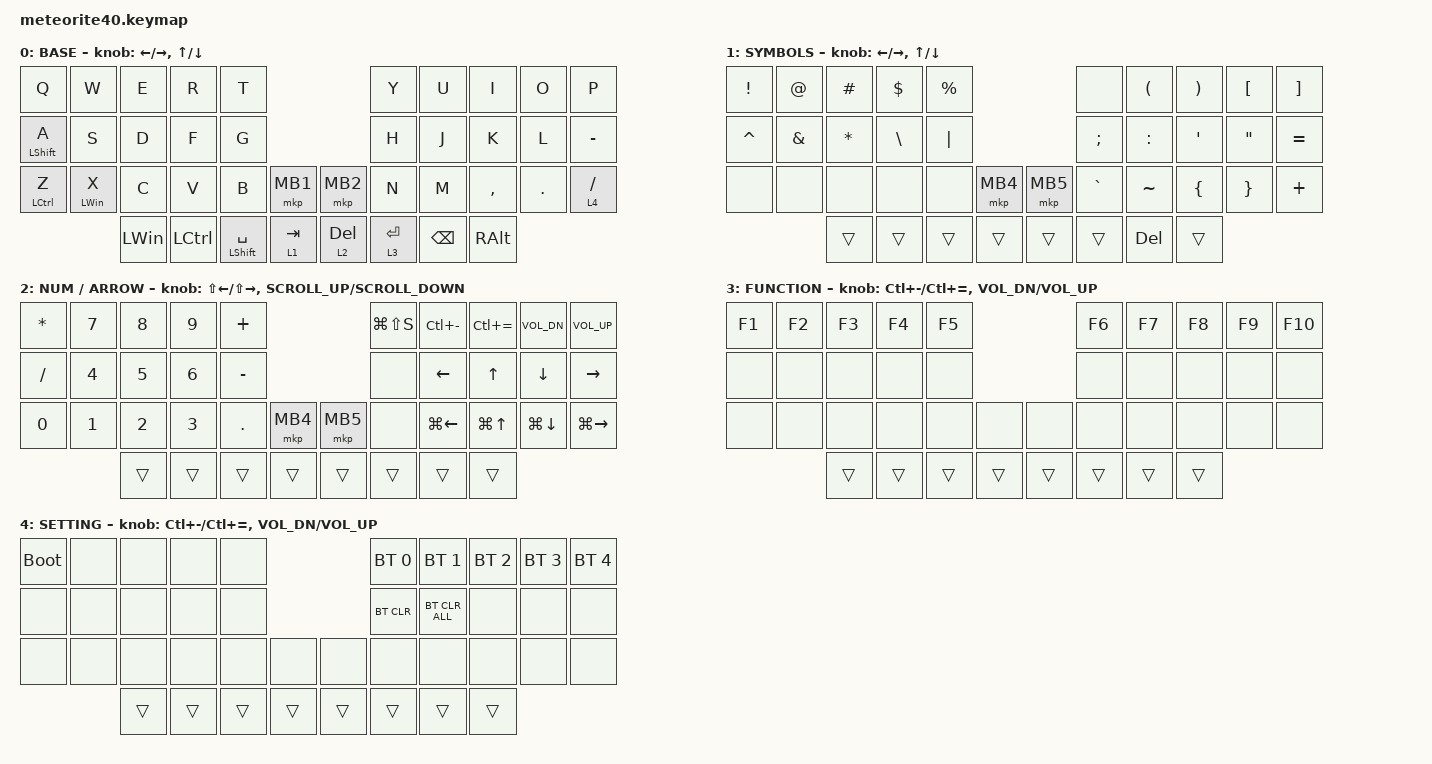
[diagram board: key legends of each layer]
#include <behaviors.dtsi>
#include <dt-bindings/zmk/bt.h>
#include <dt-bindings/zmk/keys.h>
#include <dt-bindings/zmk/pointing.h>

&mt { 
    flavor = "tap-preferred"; // change hold to tap
    tapping-term-ms = <200>;
    quick-tap-ms = <150>; // change 200 to 150
};

&lt {
    flavor = "tap-preferred";
    tapping-term-ms = <150>; // change 200 to 150
    quick-tap-ms = <150>; // change 200 to 150
};

/ { 
    combos {
        compatible = "zmk,combos";

        lang1 {
            bindings = <&kp LANG1>;
            key-positions = <12 13>; /* D + F */
            layers = <0>;
        };

        lang2 {
            bindings = <&kp LANG2>;
            key-positions = <16 17>; /* J + K */
            layers = <0>;
        };

        esc {
            bindings = <&kp ESCAPE>;
            key-positions = <20 21>; /* Z + X */
            layers = <0>;
        };

        tab {
            bindings = <&kp TAB>;
            key-positions = <0 1>; /* Q + W */
            layers = <0>;
        };

        home {
            bindings = <&kp HOME>;
            key-positions = <16 17>; /* J + K (on layer 2) */
            layers = <2>;
        };

        end {
            bindings = <&kp END>;
            key-positions = <18 19>; /* L + - (on layer 2) */
            layers = <2>;
        };

        ctrl_home {
            bindings = <&kp LC(HOME)>;
            key-positions = <16 18>; /* J + L (on layer 2) */
            layers = <2>;
        };

        ctrl_end {
            bindings = <&kp LC(END)>;
            key-positions = <17 19>; /* K + - (on layer 2) */
            layers = <2>;
        };
    };

    keymap {
        compatible = "zmk,keymap";
        layout = &LAYOUT_2U_SPACE;

        win_default_layer {
            display-name = "BASE";
            bindings = <
                &kp Q        &kp W       &kp E        &kp R        &kp T                                 &kp Y        &kp U       &kp I       &kp O  &kp P
                &mt LSHIFT A &kp S       &kp D        &kp F        &kp G                                 &kp H        &kp J       &kp K       &kp L  &kp MINUS
                &mt LCTRL Z        &mt LWIN　X       &kp C        &kp V        &kp B        &mkp MB1     &mkp MB2    &kp N        &kp M       &kp COMMA   &kp DOT  &lt 4 SLASH
                                    &kp LWIN  &kp LCTRL  &mt LSHIFT SPACE  &lt 1 TAB  &lt 2 DELETE  &lt 3 ENTER  &kp BSPC  &kp RALT
            >;

            sensor-bindings =
                <&inc_dec_kp LEFT RIGHT>, // カーソル左右 LEFT RIGHT
                <&inc_dec_kp UP DOWN>; // RE1: カーソル上下　UP DOWN


        };

        layer_1 {
            display-name = "SYMBOLS";
            bindings = <
                &kp EXCL   &kp AT    &kp HASH  &kp DLLR  &kp PRCNT                       &none      &kp LPAR   &kp RPAR   &kp LBKT   &kp RBKT
                &kp CARET  &kp AMPS  &kp STAR  &kp BSLH  &kp PIPE                        &kp SEMI   &kp COLON  &kp SQT    &kp DQT    &kp EQUAL
                &none      &none     &none     &none     &none      &mkp MB4  &mkp MB5   &kp GRAVE  &kp TILDE  &kp LBRC   &kp RBRC   &kp PLUS
                                     &trans     &trans    &trans    &trans    &trans     &trans    &kp DEL     &trans
            >;

            sensor-bindings =
                <&inc_dec_kp LEFT RIGHT>, // LC(MINUS) LC(EQUAL) RE0: ctrl + - / +,,,　→　カーソル左右 LEFT RIGHT
                <&inc_dec_kp UP DOWN>; // RE1: C_VOL_DN C_VOL_UP volume down/up　→　カーソル上下　UP DOWN

        };

        layer_2 {
            display-name = "NUM / ARROW";
            bindings = <
                &kp ASTRK        &kp N7     &kp N8     &kp N9     &kp PLUS                        &kp LG(LS(S)) &kp LC(MINUS) &kp LC(EQUAL) &kp C_VOL_DN &kp C_VOL_UP
                &kp SLASH        &kp N4     &kp N5     &kp N6     &kp MINUS                       &none         &kp LEFT      &kp UP        &kp DOWN     &kp RIGHT
                &kp N0           &kp N1     &kp N2     &kp N3     &kp DOT   &mkp MB4   &mkp MB5   &none         &kp LG(LEFT)  &kp LG(UP)    &kp LG(DOWN) &kp LG(RIGHT)
                                        &trans           &trans     &trans     &trans    &trans        &trans  &trans    &trans
            >;

            sensor-bindings =
                <&inc_dec_kp LS(LEFT) LS(RIGHT)>, // RE0: ctrl + - / +,,,　→　動画編集１秒送り LS(LEFT) LS(RIGHT)　
                <&inc_dec_kp K_SCROLL_UP K_SCROLL_DOWN>; // RE1: volume down/up　→　スクロール　K_SCROLL_UP K_SCROLL_DOWN

        };

        layer_3 {
            display-name = "FUNCTION";
            bindings = <
                &kp F1  &kp F2  &kp F3  &kp F4  &kp F5                  &kp F6  &kp F7  &kp F8  &kp F9  &kp F10
                &none   &none   &none   &none   &none                   &none   &none   &none   &none   &none
                &none   &none   &none   &none   &none   &none   &none   &none   &none   &none    &none  &none
                                &trans  &trans  &trans  &trans  &trans  &trans  &trans  &trans
            >;

            sensor-bindings =
                <&inc_dec_kp LC(MINUS) LC(EQUAL)>, // RE0: ctrl + - / +,,,
                <&inc_dec_kp C_VOL_DN C_VOL_UP>; // RE1: volume down/up

        };

        layer_4 {
            display-name = "SETTING";
            bindings = <
                &bootloader  &none   &none   &none   &none                                 &bt BT_SEL 0   &bt BT_SEL 1    &bt BT_SEL 2  &bt BT_SEL 3  &bt BT_SEL 4
                &none        &none   &none   &none   &none                                 &bt BT_CLR     &bt BT_CLR_ALL  &none         &none         &none
                &none        &none   &none   &none   &none   &none           &none         &none          &none           &none         &none         &none
                                                &trans       &trans  &trans  &trans  &trans  &trans          &trans        &trans
            >;

            sensor-bindings =
                <&inc_dec_kp LC(MINUS) LC(EQUAL)>, // RE0: ctrl + - / +,,,
                <&inc_dec_kp C_VOL_DN C_VOL_UP>; // RE1: volume down/up

        };
    };
};
